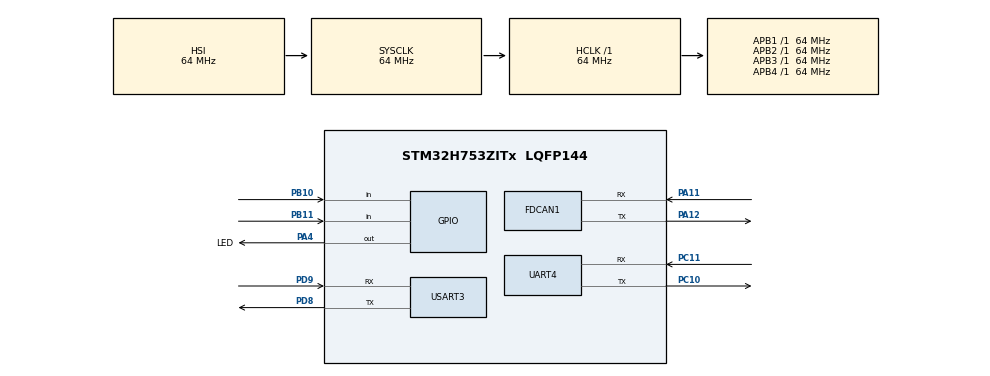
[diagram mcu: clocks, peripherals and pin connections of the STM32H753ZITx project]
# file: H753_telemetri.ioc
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CORTEX_M7.default_mode_Activation=1
FDCAN1.CalculateBaudRateNominal=2687500
FDCAN1.CalculateTimeBitNominal=372
FDCAN1.CalculateTimeQuantumNominal=124.03100775193798
FDCAN1.RxFifo0ElmtsNbr=1
FDCAN1.StdFiltersNbr=1
Mcu.Family=STM32H7
Mcu.Name=STM32H753ZITx
Mcu.Package=LQFP144
NVIC.FDCAN1_IT0_IRQn=true\:0\:0\:false\:false\:true\:true\:true\:true
NVIC.PriorityGroup=NVIC_PRIORITYGROUP_4
NVIC.UART4_IRQn=true\:0\:0\:false\:false\:true\:true\:true\:true
NVIC.USART3_IRQn=true\:0\:0\:false\:false\:true\:true\:true\:true
PA11.Mode=FDCAN_Activate
PA11.Signal=FDCAN1_RX
PA12.Mode=FDCAN_Activate
PA12.Signal=FDCAN1_TX
PA13\ (JTMS/SWDIO).Mode=Serial_Wire
PA13\ (JTMS/SWDIO).Signal=DEBUG_JTMS-SWDIO
PA14\ (JTCK/SWCLK).Mode=Serial_Wire
PA14\ (JTCK/SWCLK).Signal=DEBUG_JTCK-SWCLK
PA4.GPIO_Label=LED
PA4.Signal=GPIO_Output
PB10.Signal=GPIO_Input
PB11.Signal=GPIO_Input
PC10.Mode=Asynchronous
PC10.Signal=UART4_TX
PC11.Mode=Asynchronous
PC11.Signal=UART4_RX
PD8.Mode=Asynchronous
PD8.Signal=USART3_TX
PD9.Mode=Asynchronous
PD9.Signal=USART3_RX
ProjectManager.HeapSize=0x200
ProjectManager.StackSize=0x400
ProjectManager.TargetToolchain=STM32CubeIDE
RCC.ADCFreq_Value=129000000
RCC.APB1Freq_Value=64000000
RCC.APB2Freq_Value=64000000
RCC.APB3Freq_Value=64000000
RCC.APB4Freq_Value=64000000
RCC.CortexFreq_Value=64000000
RCC.HCLKFreq_Value=64000000
RCC.SYSCLKFreq_VALUE=64000000
RCC.USBFreq_Value=129000000
USART3.VirtualMode-Asynchronous=VM_ASYNC
VP_MEMORYMAP_VS_MEMORYMAP.Mode=CurAppReg
board=custom

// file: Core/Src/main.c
/* USER CODE BEGIN Header */
/**
  ******************************************************************************
  * @file           : main.c
  * @brief          : Main program body
  ******************************************************************************
  * @attention
  *
  * Copyright (c) 2026 STMicroelectronics.
  * All rights reserved.
  *
  * This software is licensed under terms that can be found in the LICENSE file
  * in the root directory of this software component.
  * If no LICENSE file comes with this software, it is provided AS-IS.
  *
  ******************************************************************************
  */
/* USER CODE END Header */
#include "main.h"

/* USER CODE BEGIN Includes */
#include <string.h>
#include <stdio.h>
#include <ctype.h>
/* USER CODE END Includes */

/* USER CODE BEGIN PD */
/* Pakkeformat på UART4 mellom MCU og SDR.
 * CRC8-polynom 0x07 er identisk med SDR-siden (uart_bridge.c),
 * slik at bakkesiden kan validere rammen med samme rutine. */
#define SDR_SYNC1       0xAAu
#define SDR_SYNC2       0x55u
#define SDR_MAX_DATA    60u
/* USER CODE END PD */

FDCAN_HandleTypeDef hfdcan1;

UART_HandleTypeDef huart4;
UART_HandleTypeDef huart3;

/* USER CODE BEGIN PV */
uint8_t uart3_rx_byte;   /* tegn fra PuTTY / terminal     */
uint8_t uart4_rx_byte;   /* rå byte fra ekstern UART4-enhet */

char cmd_buffer[128];
volatile uint16_t cmd_index = 0;
volatile uint8_t  cmd_ready = 0;

uint8_t tx_data_buffer[64];
/* USER CODE END PV */

void SystemClock_Config(void);
static void MPU_Config(void);
static void MX_GPIO_Init(void);
static void MX_FDCAN1_Init(void);
static void MX_UART4_Init(void);
static void MX_USART3_UART_Init(void);
/* USER CODE BEGIN PFP */

void UART_SendString(const char *s);
void UART_ProcessReceivedChar(uint8_t ch);
int  HexStringToBytes(const char *str, uint8_t *out, int max_len);
void UART_PrintByteAsHex(uint8_t byte);
void UART_SendLine(const char *s);

uint8_t calculate_crc8(const uint8_t *buf, int len);
int     UART4_SendPacket(const uint8_t *data, int len);

/* USER CODE END PFP */

/* USER CODE BEGIN 0 */

void UART_SendString(const char *s)
{
  HAL_UART_Transmit(&huart3, (uint8_t *)s, strlen(s), HAL_MAX_DELAY);
}

void UART_PrintByteAsHex(uint8_t byte)
{
  char msg[4];
  snprintf(msg, sizeof(msg), "%02X ", byte);
  HAL_UART_Transmit(&huart3, (uint8_t *)msg, strlen(msg), HAL_MAX_DELAY);
}

void UART_SendLine(const char *s)
{
  UART_SendString(s);
  UART_SendString("\r\n");
}

/*
 * Parser tekst som:
 *   "01 A0 FF 2B"
 * til bytes:
 *   0x01, 0xA0, 0xFF, 0x2B
 *
 * Returnerer antall bytes, eller -1 ved feil.
 */
int HexStringToBytes(const char *str, uint8_t *out, int max_len)
{
  int count = 0;
  int high_nibble = -1;

  while (*str != '\0')
  {
    char c = *str++;

    if (c == ' ' || c == '\t' || c == '\r' || c == '\n')
    {
      continue;
    }

    int value;
    if (c >= '0' && c <= '9')
      value = c - '0';
    else if (c >= 'A' && c <= 'F')
      value = c - 'A' + 10;
    else if (c >= 'a' && c <= 'f')
      value = c - 'a' + 10;
    else
      return -1;

    if (high_nibble < 0)
    {
      high_nibble = value;
    }
    else
    {
      if (count >= max_len)
        return -1;

      out[count++] = (high_nibble << 4) | value;
      high_nibble = -1;
    }
  }

  /* Ugyldig hvis det er oddetall hex-tegn */
  if (high_nibble >= 0)
    return -1;

  return count;
}

void UART_ProcessReceivedChar(uint8_t ch)
{
  if (ch == '\r' || ch == '\n')
  {
    if (cmd_index == 0)
    {
      UART_SendString("\r\n");
      return;
    }

    cmd_buffer[cmd_index] = '\0';
    cmd_ready = 1;
    cmd_index = 0;

    UART_SendString("\r\n[ENTER DETECTED]\r\n");
    return;
  }

  if (ch == '\b' || ch == 0x7F)
  {
    if (cmd_index > 0)
    {
      cmd_index--;
      UART_SendString("\b \b");
    }
    return;
  }

  if (cmd_index < sizeof(cmd_buffer) - 1)
  {
    cmd_buffer[cmd_index++] = (char)ch;
  }
  else
  {
    UART_SendString("\r\nInput buffer full\r\n");
    cmd_index = 0;
  }
}

/*
 * CRC8 med polynom 0x07, initial-verdi 0, ingen XOR-out.
 * Identisk med calculate_crc8_local() på SDR-siden (uart_bridge.c),
 * slik at bakkesiden kan validere rammen ende-til-ende.
 */
uint8_t calculate_crc8(const uint8_t *buf, int len)
{
  uint8_t crc = 0;
  for (int i = 0; i < len; i++)
  {
    crc ^= buf[i];
    for (int b = 0; b < 8; b++)
    {
      crc = (crc & 0x80) ? (uint8_t)((crc << 1) ^ 0x07) : (uint8_t)(crc << 1);
    }
  }
  return crc;
}

/*
 * Pakker nyttedata i UART-rammen og sender hele rammen på UART4.
 *
 *   [0]      SYNC1 = 0xAA
 *   [1]      SYNC2 = 0x55
 *   [2]      LEN   (1..SDR_MAX_DATA)
 *   [3..]    DATA[LEN]
 *   [3+LEN]  SEQ    -- 8-bit løpende teller
 *   [4+LEN]  CRC8   over byte [2..3+LEN] (LEN, DATA, SEQ)
 *
 * Returnerer antall sendte byte (frame-lengde), eller -1 ved feil.
 */
int UART4_SendPacket(const uint8_t *data, int len)
{
  static uint8_t tx_seq = 0;

  if (len < 1 || (uint32_t)len > SDR_MAX_DATA)
    return -1;

  uint8_t frame[5 + SDR_MAX_DATA];
  frame[0] = SDR_SYNC1;
  frame[1] = SDR_SYNC2;
  frame[2] = (uint8_t)len;
  memcpy(&frame[3], data, (size_t)len);
  frame[3 + len] = tx_seq++;
  frame[4 + len] = calculate_crc8(&frame[2], 2 + len);

  int frame_len = 5 + len;

  if (HAL_UART_Transmit(&huart4, frame, (uint16_t)frame_len, HAL_MAX_DELAY) != HAL_OK)
    return -1;

  /* Skriv ut hele rammen på terminalen for verifisering */
  UART_SendString("UART4 frame: ");
  for (int i = 0; i < frame_len; i++)
    UART_PrintByteAsHex(frame[i]);
  UART_SendString("\r\n");

  return frame_len;
}

/* USER CODE END 0 */

int main(void)
{

  /* MPU Configuration--------------------------------------------------------*/
  MPU_Config();

  /* MCU Configuration--------------------------------------------------------*/

  /* Reset of all peripherals, Initializes the Flash interface and the Systick. */
  HAL_Init();

  /* Configure the system clock */
  SystemClock_Config();

  /* Initialize all configured peripherals */
  MX_GPIO_Init();
  MX_FDCAN1_Init();
  MX_UART4_Init();
  MX_USART3_UART_Init();
  /* USER CODE BEGIN 2 */

  UART_SendString("\r\n====================================\r\n");
  UART_SendString("UART bridge ready\r\n");
  UART_SendString("Terminal : USART3 (PuTTY)\r\n");
  UART_SendString("External : UART4 -> SDR\r\n");
  UART_SendString("Input    : hex bytes, e.g. 01 A0 FF 2B\r\n");
  UART_SendString("Max data : 60 byte per pakke\r\n");
  UART_SendString("Frame    : AA 55 LEN DATA[] SEQ CRC8\r\n");
  UART_SendString("====================================\r\n\r\n");

  if (HAL_UART_Receive_IT(&huart3, &uart3_rx_byte, 1) != HAL_OK)
  {
    Error_Handler();
  }

  if (HAL_UART_Receive_IT(&huart4, &uart4_rx_byte, 1) != HAL_OK)
  {
    Error_Handler();
  }

  /* USER CODE END 2 */

  /* Infinite loop */
  /* USER CODE BEGIN WHILE */
  while (1)
  {
    if (cmd_ready)
    {
      cmd_ready = 0;

      int len = HexStringToBytes(cmd_buffer, tx_data_buffer, sizeof(tx_data_buffer));

      if (len > 0 && (uint32_t)len <= SDR_MAX_DATA)
      {
        UART_SendString("Sending DATA    : ");
        for (int i = 0; i < len; i++)
          UART_PrintByteAsHex(tx_data_buffer[i]);
        UART_SendString("\r\n");

        if (UART4_SendPacket(tx_data_buffer, len) < 0)
          UART_SendString("UART4 transmit error\r\n");
        else
          UART_SendString("TX done\r\n");
      }
      else if (len > 0 && (uint32_t)len > SDR_MAX_DATA)
      {
        UART_SendString("Too many bytes. Max 60 per pakke.\r\n");
      }
      else
      {
        UART_SendString("Invalid hex input. Example: 01 A0 FF 2B\r\n");
      }
    }

    /* USER CODE END WHILE */

  }
}

void SystemClock_Config(void)
{
  RCC_OscInitTypeDef RCC_OscInitStruct = {0};
  RCC_ClkInitTypeDef RCC_ClkInitStruct = {0};

  /** Supply configuration update enable
  */
  HAL_PWREx_ConfigSupply(PWR_LDO_SUPPLY);

  /** Configure the main internal regulator output voltage
  */
  __HAL_PWR_VOLTAGESCALING_CONFIG(PWR_REGULATOR_VOLTAGE_SCALE3);

  while(!__HAL_PWR_GET_FLAG(PWR_FLAG_VOSRDY)) {}

  /** Initializes the RCC Oscillators according to the specified parameters
  * in the RCC_OscInitTypeDef structure.
  */
  RCC_OscInitStruct.OscillatorType = RCC_OSCILLATORTYPE_HSI;
  RCC_OscInitStruct.HSIState = RCC_HSI_DIV1;
  RCC_OscInitStruct.HSICalibrationValue = RCC_HSICALIBRATION_DEFAULT;
  RCC_OscInitStruct.PLL.PLLState = RCC_PLL_ON;
  RCC_OscInitStruct.PLL.PLLSource = RCC_PLLSOURCE_HSI;
  RCC_OscInitStruct.PLL.PLLM = 32;
  RCC_OscInitStruct.PLL.PLLN = 129;
  RCC_OscInitStruct.PLL.PLLP = 2;
  RCC_OscInitStruct.PLL.PLLQ = 2;
  RCC_OscInitStruct.PLL.PLLR = 2;
  RCC_OscInitStruct.PLL.PLLRGE = RCC_PLL1VCIRANGE_1;
  RCC_OscInitStruct.PLL.PLLVCOSEL = RCC_PLL1VCOWIDE;
  RCC_OscInitStruct.PLL.PLLFRACN = 0;
  if (HAL_RCC_OscConfig(&RCC_OscInitStruct) != HAL_OK)
  {
    Error_Handler();
  }

  /** Initializes the CPU, AHB and APB buses clocks
  */
  RCC_ClkInitStruct.ClockType = RCC_CLOCKTYPE_HCLK|RCC_CLOCKTYPE_SYSCLK
                              |RCC_CLOCKTYPE_PCLK1|RCC_CLOCKTYPE_PCLK2
                              |RCC_CLOCKTYPE_D3PCLK1|RCC_CLOCKTYPE_D1PCLK1;
  RCC_ClkInitStruct.SYSCLKSource = RCC_SYSCLKSOURCE_HSI;
  RCC_ClkInitStruct.SYSCLKDivider = RCC_SYSCLK_DIV1;
  RCC_ClkInitStruct.AHBCLKDivider = RCC_HCLK_DIV1;
  RCC_ClkInitStruct.APB3CLKDivider = RCC_APB3_DIV1;
  RCC_ClkInitStruct.APB1CLKDivider = RCC_APB1_DIV1;
  RCC_ClkInitStruct.APB2CLKDivider = RCC_APB2_DIV1;
  RCC_ClkInitStruct.APB4CLKDivider = RCC_APB4_DIV1;

  if (HAL_RCC_ClockConfig(&RCC_ClkInitStruct, FLASH_LATENCY_1) != HAL_OK)
  {
    Error_Handler();
  }
}

static void MX_FDCAN1_Init(void)
{

  hfdcan1.Instance = FDCAN1;
  hfdcan1.Init.FrameFormat = FDCAN_FRAME_CLASSIC;
  hfdcan1.Init.Mode = FDCAN_MODE_NORMAL;
  hfdcan1.Init.AutoRetransmission = DISABLE;
  hfdcan1.Init.TransmitPause = DISABLE;
  hfdcan1.Init.ProtocolException = DISABLE;
  hfdcan1.Init.NominalPrescaler = 16;
  hfdcan1.Init.NominalSyncJumpWidth = 1;
  hfdcan1.Init.NominalTimeSeg1 = 1;
  hfdcan1.Init.NominalTimeSeg2 = 1;
  hfdcan1.Init.DataPrescaler = 1;
  hfdcan1.Init.DataSyncJumpWidth = 1;
  hfdcan1.Init.DataTimeSeg1 = 1;
  hfdcan1.Init.DataTimeSeg2 = 1;
  hfdcan1.Init.MessageRAMOffset = 0;
  hfdcan1.Init.StdFiltersNbr = 1;
  hfdcan1.Init.ExtFiltersNbr = 0;
  hfdcan1.Init.RxFifo0ElmtsNbr = 1;
  hfdcan1.Init.RxFifo0ElmtSize = FDCAN_DATA_BYTES_8;
  hfdcan1.Init.RxFifo1ElmtsNbr = 0;
  hfdcan1.Init.RxFifo1ElmtSize = FDCAN_DATA_BYTES_8;
  hfdcan1.Init.RxBuffersNbr = 0;
  hfdcan1.Init.RxBufferSize = FDCAN_DATA_BYTES_8;
  hfdcan1.Init.TxEventsNbr = 0;
  hfdcan1.Init.TxBuffersNbr = 0;
  hfdcan1.Init.TxFifoQueueElmtsNbr = 0;
  hfdcan1.Init.TxFifoQueueMode = FDCAN_TX_FIFO_OPERATION;
  hfdcan1.Init.TxElmtSize = FDCAN_DATA_BYTES_8;
  if (HAL_FDCAN_Init(&hfdcan1) != HAL_OK)
  {
    Error_Handler();
  }

}

static void MX_UART4_Init(void)
{

  huart4.Instance = UART4;
  huart4.Init.BaudRate = 115200;
  huart4.Init.WordLength = UART_WORDLENGTH_8B;
  huart4.Init.StopBits = UART_STOPBITS_1;
  huart4.Init.Parity = UART_PARITY_NONE;
  huart4.Init.Mode = UART_MODE_TX_RX;
  huart4.Init.HwFlowCtl = UART_HWCONTROL_NONE;
  huart4.Init.OverSampling = UART_OVERSAMPLING_16;
  huart4.Init.OneBitSampling = UART_ONE_BIT_SAMPLE_DISABLE;
  huart4.Init.ClockPrescaler = UART_PRESCALER_DIV1;
  huart4.AdvancedInit.AdvFeatureInit = UART_ADVFEATURE_NO_INIT;
  if (HAL_UART_Init(&huart4) != HAL_OK)
  {
    Error_Handler();
  }
  if (HAL_UARTEx_SetTxFifoThreshold(&huart4, UART_TXFIFO_THRESHOLD_1_8) != HAL_OK)
  {
    Error_Handler();
  }
  if (HAL_UARTEx_SetRxFifoThreshold(&huart4, UART_RXFIFO_THRESHOLD_1_8) != HAL_OK)
  {
    Error_Handler();
  }
  if (HAL_UARTEx_DisableFifoMode(&huart4) != HAL_OK)
  {
    Error_Handler();
  }

}

static void MX_USART3_UART_Init(void)
{

  huart3.Instance = USART3;
  huart3.Init.BaudRate = 115200;
  huart3.Init.WordLength = UART_WORDLENGTH_8B;
  huart3.Init.StopBits = UART_STOPBITS_1;
  huart3.Init.Parity = UART_PARITY_NONE;
  huart3.Init.Mode = UART_MODE_TX_RX;
  huart3.Init.HwFlowCtl = UART_HWCONTROL_NONE;
  huart3.Init.OverSampling = UART_OVERSAMPLING_16;
  huart3.Init.OneBitSampling = UART_ONE_BIT_SAMPLE_DISABLE;
  huart3.Init.ClockPrescaler = UART_PRESCALER_DIV1;
  huart3.AdvancedInit.AdvFeatureInit = UART_ADVFEATURE_NO_INIT;
  if (HAL_UART_Init(&huart3) != HAL_OK)
  {
    Error_Handler();
  }
  if (HAL_UARTEx_SetTxFifoThreshold(&huart3, UART_TXFIFO_THRESHOLD_1_8) != HAL_OK)
  {
    Error_Handler();
  }
  if (HAL_UARTEx_SetRxFifoThreshold(&huart3, UART_RXFIFO_THRESHOLD_1_8) != HAL_OK)
  {
    Error_Handler();
  }
  if (HAL_UARTEx_DisableFifoMode(&huart3) != HAL_OK)
  {
    Error_Handler();
  }

}

static void MX_GPIO_Init(void)
{
  GPIO_InitTypeDef GPIO_InitStruct = {0};

  /* GPIO Ports Clock Enable */
  __HAL_RCC_GPIOA_CLK_ENABLE();
  __HAL_RCC_GPIOB_CLK_ENABLE();
  __HAL_RCC_GPIOD_CLK_ENABLE();
  __HAL_RCC_GPIOC_CLK_ENABLE();

  /*Configure GPIO pin Output Level */
  HAL_GPIO_WritePin(LED_GPIO_Port, LED_Pin, GPIO_PIN_RESET);

  /*Configure GPIO pin : LED_Pin */
  GPIO_InitStruct.Pin = LED_Pin;
  GPIO_InitStruct.Mode = GPIO_MODE_OUTPUT_PP;
  GPIO_InitStruct.Pull = GPIO_NOPULL;
  GPIO_InitStruct.Speed = GPIO_SPEED_FREQ_LOW;
  HAL_GPIO_Init(LED_GPIO_Port, &GPIO_InitStruct);

  /*Configure GPIO pins : PB10 PB11 */
  GPIO_InitStruct.Pin = GPIO_PIN_10|GPIO_PIN_11;
  GPIO_InitStruct.Mode = GPIO_MODE_INPUT;
  GPIO_InitStruct.Pull = GPIO_NOPULL;
  HAL_GPIO_Init(GPIOB, &GPIO_InitStruct);

}

/* USER CODE BEGIN 4 */

void HAL_UART_RxCpltCallback(UART_HandleTypeDef *huart)
{
  if (huart->Instance == USART3)
  {
    /* Mottak fra terminal / PuTTY */
    UART_ProcessReceivedChar(uart3_rx_byte);

    if (HAL_UART_Receive_IT(&huart3, &uart3_rx_byte, 1) != HAL_OK)
    {
      Error_Handler();
    }
  }
  else if (huart->Instance == UART4)
  {
    /* Mottak fra ekstern UART4-enhet -> vis i terminal som hex */
    UART_PrintByteAsHex(uart4_rx_byte);

    if (HAL_UART_Receive_IT(&huart4, &uart4_rx_byte, 1) != HAL_OK)
    {
      Error_Handler();
    }
  }
}

void HAL_UART_ErrorCallback(UART_HandleTypeDef *huart)
{
  if (huart->Instance == USART3)
  {
    UART_SendLine("USART3 error");
    __HAL_UART_CLEAR_OREFLAG(&huart3);

    if (HAL_UART_Receive_IT(&huart3, &uart3_rx_byte, 1) != HAL_OK)
    {
      Error_Handler();
    }
  }
  else if (huart->Instance == UART4)
  {
    __HAL_UART_CLEAR_OREFLAG(&huart4);

    if (HAL_UART_Receive_IT(&huart4, &uart4_rx_byte, 1) != HAL_OK)
    {
      Error_Handler();
    }
  }
}

/* USER CODE END 4 */

 /* MPU Configuration */

void MPU_Config(void)
{
  MPU_Region_InitTypeDef MPU_InitStruct = {0};

  /* Disables the MPU */
  HAL_MPU_Disable();

  /** Initializes and configures the Region and the memory to be protected
  */
  MPU_InitStruct.Enable = MPU_REGION_ENABLE;
  MPU_InitStruct.Number = MPU_REGION_NUMBER0;
  MPU_InitStruct.BaseAddress = 0x0;
  MPU_InitStruct.Size = MPU_REGION_SIZE_4GB;
  MPU_InitStruct.SubRegionDisable = 0x87;
  MPU_InitStruct.TypeExtField = MPU_TEX_LEVEL0;
  MPU_InitStruct.AccessPermission = MPU_REGION_NO_ACCESS;
  MPU_InitStruct.DisableExec = MPU_INSTRUCTION_ACCESS_DISABLE;
  MPU_InitStruct.IsShareable = MPU_ACCESS_SHAREABLE;
  MPU_InitStruct.IsCacheable = MPU_ACCESS_NOT_CACHEABLE;
  MPU_InitStruct.IsBufferable = MPU_ACCESS_NOT_BUFFERABLE;

  HAL_MPU_ConfigRegion(&MPU_InitStruct);
  /* Enables the MPU */
  HAL_MPU_Enable(MPU_PRIVILEGED_DEFAULT);

}

void Error_Handler(void)
{
  __disable_irq();
  while (1)
  {
  }
}
